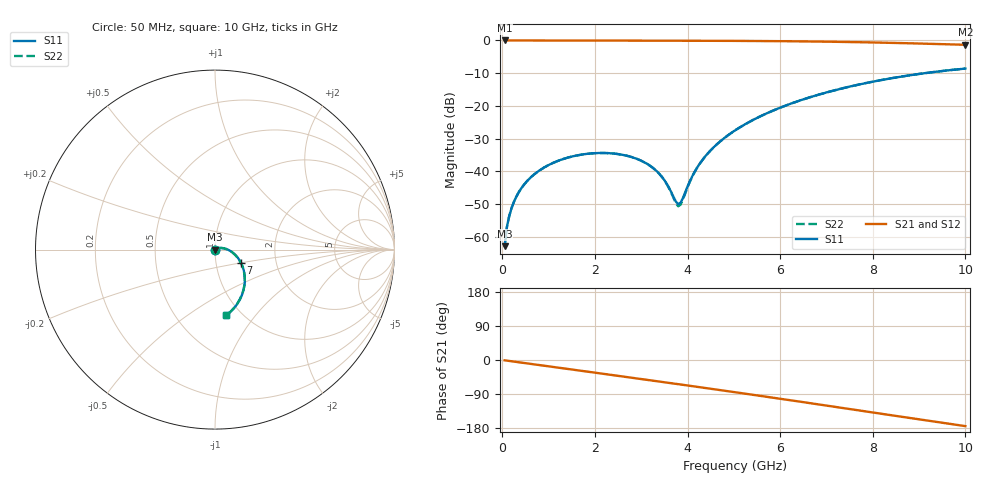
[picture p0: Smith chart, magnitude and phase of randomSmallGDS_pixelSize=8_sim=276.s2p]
! freq	dB(S11)	phase(S11)	dB(S12)	phase(S12)
!  dB(S21)	phase(S21)	dB(S22)	phase(S22)
!S-par simulation data
#  GHz  S  DB  R 50
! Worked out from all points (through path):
!   200 points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, 50 MHz to 10 GHz, reference 50 ohm
!   highest |S21| = 0.00 dB at 50 MHz (marker M1); lowest = -1.3 dB at 10 GHz (marker M2)
!   group delay of S21, straight-line fit = 48.6 ps
!   lowest |S11| = -62.8 dB at 50 MHz (marker M3), VSWR 1.00, Z = 50 - j0.0724 ohm
!   |S11| at or under -10 dB: start of sweep to 9.115 GHz
!   |S22| runs from -62.8 to -8.6 dB; largest |S21 - S12| = 0
!   S11 on the Smith chart (normalised r, x): 50 MHz: 1.00, -0.00; 7 GHz: 1.32, -0.20; 10 GHz: 0.85, -0.72
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0.05  -62.81 -90.7  -0.00 -0.8  -0.00 -0.8  -62.78 -90.9
0.1  -56.96 -93.1  -0.00 -1.7  -0.00 -1.7  -56.96 -93.3
0.2  -51.18 -95.1  -0.00 -3.4  -0.00 -3.4  -51.18 -95.2
0.35  -46.48 -97.5  -0.00 -5.9  -0.00 -5.9  -46.48 -97.5
0.5  -43.50 -100.0  -0.01 -8.4  -0.01 -8.4  -43.50 -99.9
1  -38.03 -108.8  -0.02 -16.7  -0.02 -16.7  -38.03 -108.7
1.75  -34.77 -122.5  -0.03 -29.2  -0.03 -29.2  -34.77 -122.4
2.25  -34.38 -132.1  -0.04 -37.6  -0.04 -37.6  -34.38 -131.9
2.75  -35.42 -142.7  -0.05 -46.0  -0.05 -46.0  -35.42 -142.3
3.1  -37.44 -152.0  -0.06 -51.9  -0.06 -51.9  -37.45 -151.3
3.4  -40.85 -164.1  -0.06 -57.0  -0.06 -57.0  -40.89 -163.0
3.8  -49.98 122.8  -0.08 -63.8  -0.08 -63.8  -50.62 123.5
3.85  -49.54 100.5  -0.08 -64.6  -0.08 -64.6  -50.15 99.5
4.15  -40.18 42.0  -0.09 -69.8  -0.09 -69.8  -40.28 40.5
4.35  -35.95 31.0  -0.09 -73.2  -0.09 -73.2  -36.00 30.0
4.65  -31.49 21.1  -0.11 -78.4  -0.11 -78.4  -31.51 20.3
5.05  -27.24 11.4  -0.13 -85.4  -0.13 -85.4  -27.25 10.8
5.8  -21.69 -4.0  -0.19 -98.7  -0.19 -98.7  -21.70 -4.3
6.7  -17.10 -21.0  -0.31 -114.8  -0.31 -114.8  -17.10 -21.3
7  -15.87 -26.6  -0.37 -120.2  -0.37 -120.2  -15.88 -26.8
8.35  -11.66 -51.3  -0.71 -144.8  -0.71 -144.8  -11.67 -51.5
10  -8.59 -80.4  -1.32 -174.5  -1.32 -174.5  -8.59 -80.6
